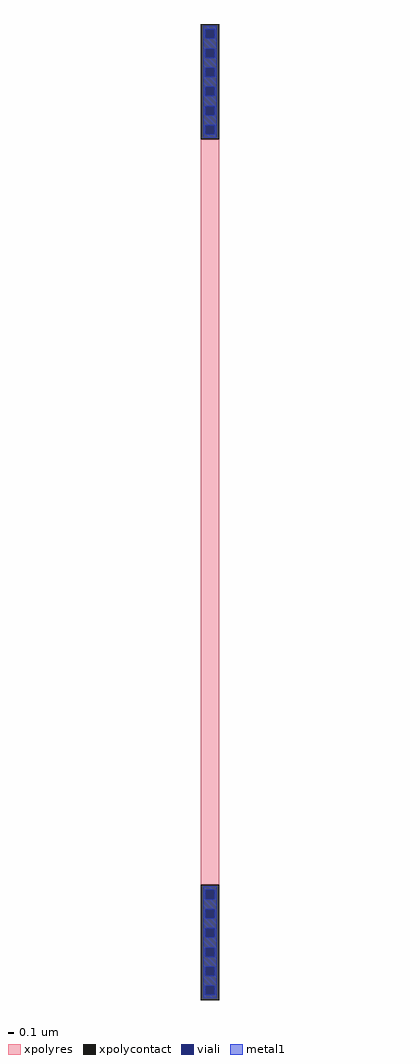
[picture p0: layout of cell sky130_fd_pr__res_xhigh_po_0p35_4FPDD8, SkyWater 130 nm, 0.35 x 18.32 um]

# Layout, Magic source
magic
tech sky130A
magscale 1 2
<< xpolycontact >>
rect -35 1400 35 1832
rect -35 -1832 35 -1400
<< xpolyres >>
rect -35 -1400 35 1400
<< viali >>
rect -17 1778 17 1812
rect -17 1706 17 1740
rect -17 1634 17 1668
rect -17 1562 17 1596
rect -17 1490 17 1524
rect -17 1418 17 1452
rect -17 -1453 17 -1419
rect -17 -1525 17 -1491
rect -17 -1597 17 -1563
rect -17 -1669 17 -1635
rect -17 -1741 17 -1707
rect -17 -1813 17 -1779
<< metal1 >>
rect -25 1812 25 1826
rect -25 1778 -17 1812
rect 17 1778 25 1812
rect -25 1740 25 1778
rect -25 1706 -17 1740
rect 17 1706 25 1740
rect -25 1668 25 1706
rect -25 1634 -17 1668
rect 17 1634 25 1668
rect -25 1596 25 1634
rect -25 1562 -17 1596
rect 17 1562 25 1596
rect -25 1524 25 1562
rect -25 1490 -17 1524
rect 17 1490 25 1524
rect -25 1452 25 1490
rect -25 1418 -17 1452
rect 17 1418 25 1452
rect -25 1405 25 1418
rect -25 -1419 25 -1405
rect -25 -1453 -17 -1419
rect 17 -1453 25 -1419
rect -25 -1491 25 -1453
rect -25 -1525 -17 -1491
rect 17 -1525 25 -1491
rect -25 -1563 25 -1525
rect -25 -1597 -17 -1563
rect 17 -1597 25 -1563
rect -25 -1635 25 -1597
rect -25 -1669 -17 -1635
rect 17 -1669 25 -1635
rect -25 -1707 25 -1669
rect -25 -1741 -17 -1707
rect 17 -1741 25 -1707
rect -25 -1779 25 -1741
rect -25 -1813 -17 -1779
rect 17 -1813 25 -1779
rect -25 -1826 25 -1813
<< end >>
